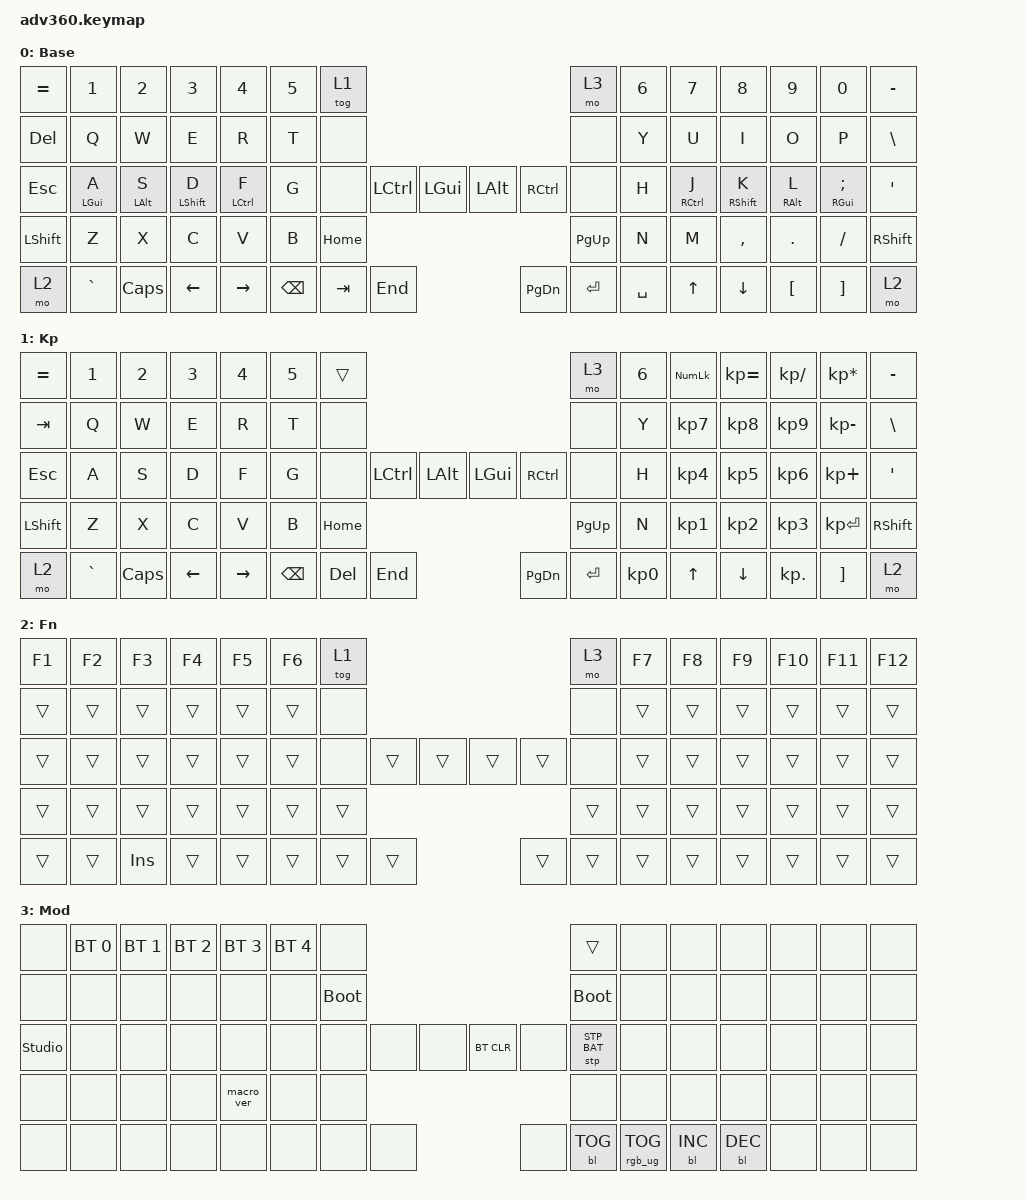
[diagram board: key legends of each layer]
#include <behaviors.dtsi>
#include <dt-bindings/zmk/keys.h>
#include <dt-bindings/zmk/bt.h>
#include <dt-bindings/zmk/rgb.h>
#include <dt-bindings/zmk/stp.h>
#include <dt-bindings/zmk/backlight.h>
#include <dt-bindings/zmk/pointing.h>

#define KEYS_L   29  30  31  32
#define KEYS_R   41  42  43  44
#define THUMBS_L  35 36 52 65 66 67
#define THUMBS_R 37 38 53 68 69 70
#define THUMBS THUMBS_L THUMBS_R

#define _A_LGUI     &hm_l LGUI A
#define _S_LALT     &hm_l LALT S
#define _D_LSHFT    &hm_l LSHFT D
#define _F_LCTRL    &hm_l LCTRL F
#define _J_RCTRL    &hm_r RCTRL J
#define _K_RSHFT    &hm_r RSHFT K
#define _L_RALT     &hm_r RALT L
#define _S_RGUI     &hm_r RGUI SEMI

/ {
    behaviors {
      #include "macros.dtsi"
      #include "version.dtsi"

    hm_l: homerow_mods_left {
          compatible = "zmk,behavior-hold-tap";
          label = "HOMEROW_MODS_LEFT";
          #binding-cells = <2>;
          flavor = "balanced";
          tapping-term-ms = <280>;
          quick-tap-ms = <152>;
          require-prior-idle-ms = <150>;
          bindings = <&kp>, <&kp>;
          hold-trigger-on-release;
      };

    hm_r: homerow_mods_right {
          compatible = "zmk,behavior-hold-tap";
          label = "HOMEROW_MODS_RIGHT";
          #binding-cells = <2>;
          flavor = "balanced";
          tapping-term-ms = <280>;
          quick-tap-ms = <152>;
          require-prior-idle-ms = <150>;
          bindings = <&kp>, <&kp>;
          hold-trigger-on-release;
      };

    };

  keymap {
    compatible = "zmk,keymap";

    default_layer {
      display-name = "Base";
      bindings = <
        &kp EQUAL &kp N1    &kp N2   &kp N3   &kp N4     &kp N5 &tog 1                                                           &mo 3 &kp N6 &kp N7 &kp N8    &kp N9   &kp N0   &kp MINUS
        &kp DEL   &kp Q     &kp W    &kp E    &kp R      &kp T  &none                                                            &none &kp Y  &kp U  &kp I     &kp O    &kp P    &kp BSLH
        &kp ESC   _A_LGUI   _S_LALT  _D_LSHFT _F_LCTRL   &kp G  &none           &kp LCTRL &kp LGUI &kp LALT  &kp RCTRL           &none &kp H  _J_RCTRL _K_RSHFT _L_RALT _S_RGUI  &kp SQT
        &kp LSHFT &kp Z     &kp X    &kp C    &kp V      &kp B                            &kp HOME &kp PG_UP                           &kp N  &kp M  &kp COMMA &kp DOT  &kp FSLH &kp RSHFT
        &mo 2     &kp GRAVE &kp CAPS &kp LEFT &kp RIGHT                &kp BSPC &kp TAB   &kp END  &kp PG_DN &kp ENTER &kp SPACE              &kp UP &kp DOWN  &kp LBKT &kp RBKT &mo 2
      >;
    };
    keypad {
      display-name = "Kp";
      bindings = <
        &kp EQUAL &kp N1    &kp N2   &kp N3   &kp N4     &kp N5 &trans                                                           &mo 3 &kp N6 &kp KP_NUM &kp KP_EQUAL &kp KP_DIVIDE &kp KP_MULTIPLY &kp MINUS
        &kp TAB   &kp Q     &kp W    &kp E    &kp R      &kp T  &none                                                            &none &kp Y  &kp KP_N7  &kp KP_N8    &kp KP_N9     &kp KP_MINUS    &kp BSLH
        &kp ESC   &kp A     &kp S    &kp D    &kp F      &kp G  &none           &kp LCTRL &kp LALT &kp LGUI  &kp RCTRL           &none &kp H  &kp KP_N4  &kp KP_N5    &kp KP_N6     &kp KP_PLUS     &kp SQT
        &kp LSHFT &kp Z     &kp X    &kp C    &kp V      &kp B                            &kp HOME &kp PG_UP                           &kp N  &kp KP_N1  &kp KP_N2    &kp KP_N3     &kp KP_ENTER    &kp RSHFT
        &mo 2     &kp GRAVE &kp CAPS &kp LEFT &kp RIGHT                &kp BSPC &kp DEL   &kp END  &kp PG_DN &kp ENTER &kp KP_N0              &kp UP     &kp DOWN     &kp KP_DOT    &kp RBKT        &mo 2
      >;
    };
    fn {
      display-name = "Fn";
      bindings = <
        &kp F1 &kp F2 &kp F3 &kp F4 &kp F5 &kp F6 &tog 1                                           &mo 3 &kp F7 &kp F8 &kp F9 &kp F10 &kp F11 &kp F12
        &trans &trans &trans &trans &trans &trans  &none                                           &none &trans &trans &trans &trans  &trans  &trans
        &trans &trans &trans &trans &trans &trans  &none        &trans &trans &trans &trans        &none &trans &trans &trans &trans  &trans  &trans
        &trans &trans &trans &trans &trans &trans                      &trans &trans                     &trans &trans &trans &trans  &trans  &trans
        &trans &trans &kp INS   &trans &trans               &trans &trans &trans &trans &trans &trans              &trans &trans &trans  &trans  &trans
      >;
    };
    mod {
      display-name = "Mod";
      bindings = <
        &none &bt BT_SEL 0 &bt BT_SEL 1 &bt BT_SEL 2 &bt BT_SEL 3 &bt BT_SEL 4 &none                                                                     &trans                 &none        &none        &none        &none &none &none
        &none &none        &none        &none        &none        &none        &bootloader                                                               &bootloader            &none        &none        &none        &none &none &none
        &studio_unlock &none        &none        &none        &none        &none        &none                   &none &none &bt BT_CLR &none                      &stp STP_BAT &none        &none        &none        &none &none &none
        &none &none        &none        &none        &macro_ver   &none                                      &none &none                                                        &none        &none        &none        &none &none &none
        &none &none        &none        &none        &none                                       &none &none &none &none      &bl BL_TOG &rgb_ug RGB_TOG                                     &bl BL_INC   &bl BL_DEC   &none &none &none
      >;
    };
    extra1 { 
      display-name = "Red";    
      status = "reserved";
    };

    extra2 { 
      display-name = "Purple";    
      status = "reserved";
    };

    extra3 { 
      display-name = "Cyan";    
      status = "reserved";
    };

    extra4 { 
      display-name = "Yellow";    
      status = "reserved";
    };
  };
};
